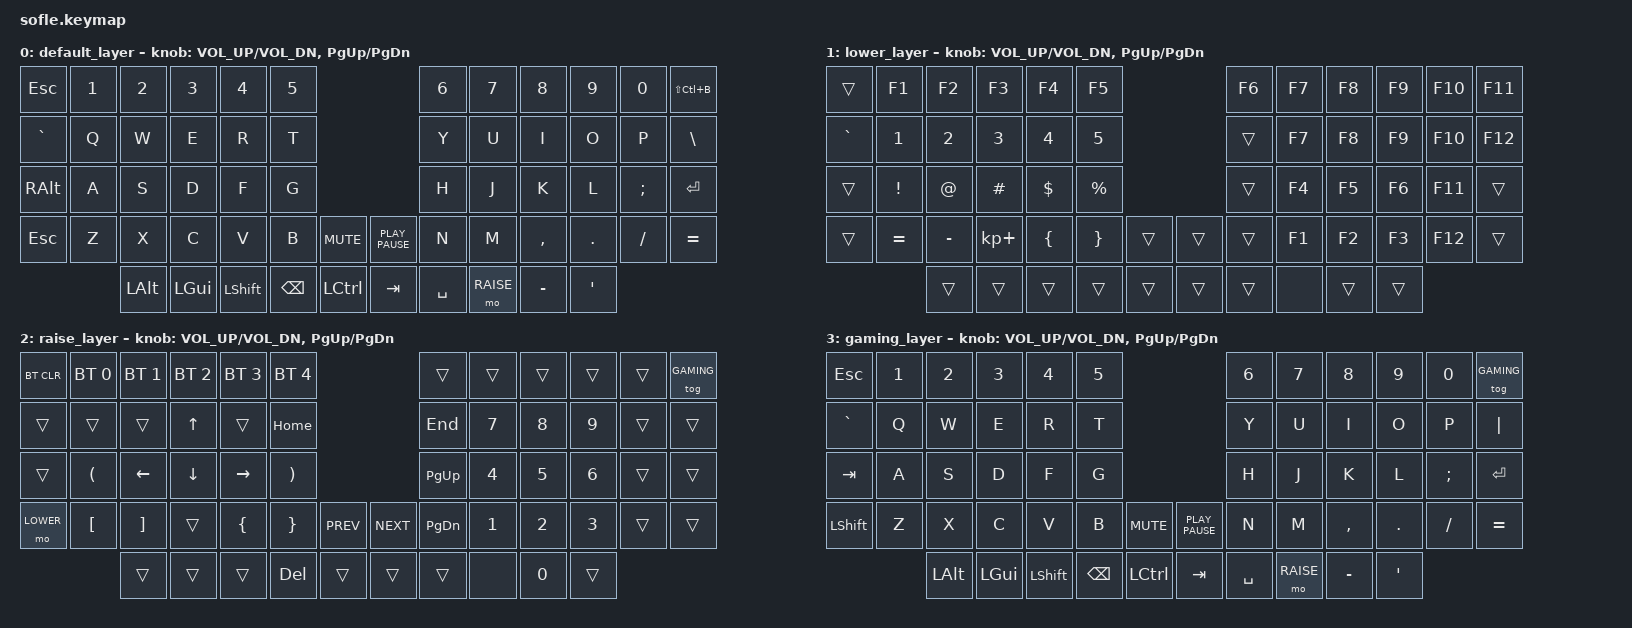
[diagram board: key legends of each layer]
/*
 * Copyright (c) 2020 The ZMK Contributors
 *
 * SPDX-License-Identifier: MIT
 */

#include <behaviors.dtsi>
#include <dt-bindings/zmk/keys.h>
#include <dt-bindings/zmk/bt.h>

#define DEFAULT 0
#define LOWER 1
#define RAISE 2
#define GAMING 3


/ {
    keymap {
        compatible = "zmk,keymap";

        default_layer {
            bindings = <
&kp ESC &kp N1 &kp N2   &kp N3   &kp N4    &kp N5                                        &kp N6    &kp N7     &kp N8    &kp N9   &kp N0   &kp LS(LC(B))
&kp GRAVE   &kp Q  &kp W    &kp E    &kp R     &kp T                                     &kp Y     &kp U      &kp I     &kp O    &kp P    &kp BSLH
&kp RIGHT_ALT   &kp A  &kp S    &kp D    &kp F     &kp G                                     &kp H     &kp J      &kp K     &kp L    &kp SEMI &kp RET
&kp ESC     &kp Z  &kp X    &kp C    &kp V     &kp B  &kp C_MUTE      &kp K_PLAY_PAUSE   &kp N     &kp M      &kp COMMA &kp DOT  &kp FSLH &kp EQUAL
                 &kp LALT &kp LGUI &kp LSHFT &kp BSPC  &kp LCTRL      &kp TAB &kp SPACE  &mo RAISE &kp MINUS  &kp SQT
            >;

            sensor-bindings = <&inc_dec_kp C_VOL_UP C_VOL_DN &inc_dec_kp PG_UP PG_DN>;
        };

        lower_layer {
            bindings = <
&trans    &kp F1    &kp F2    &kp F3      &kp F4    &kp F5                    &kp F6    &kp F7   &kp F8  &kp F9  &kp F10  &kp F11
&kp GRAVE &kp N1    &kp N2    &kp N3      &kp N4    &kp N5                    &trans    &kp F7   &kp F8  &kp F9  &kp F10  &kp F12
&trans    &kp EXCL  &kp AT    &kp HASH    &kp DLLR  &kp PRCNT                 &trans    &kp F4   &kp F5  &kp F6  &kp F11  &trans
&trans    &kp EQUAL &kp MINUS &kp KP_PLUS &kp LBRC  &kp RBRC  &trans   &trans &trans    &kp F1   &kp F2  &kp F3  &kp F12  &trans
                    &trans    &trans      &trans    &trans    &trans   &trans &trans    &none   &trans  &trans
            >;

            sensor-bindings = <&inc_dec_kp C_VOL_UP C_VOL_DN &inc_dec_kp PG_UP PG_DN>;
        };

        raise_layer {
            bindings = <
&bt BT_CLR &bt BT_SEL 0 &bt BT_SEL 1 &bt BT_SEL 2 &bt BT_SEL 3 &bt BT_SEL 4                         &trans    &trans    &trans   &trans    &trans  &tog GAMING
&trans     &trans       &trans       &kp UP       &trans       &kp HOME                             &kp END   &kp N7    &kp N8   &kp N9    &trans  &trans
&trans     &kp LPAR     &kp LEFT     &kp DOWN     &kp RIGHT    &kp RPAR                             &kp PG_UP &kp N4    &kp N5   &kp N6    &trans  &trans
&mo LOWER  &kp LBKT     &kp RBKT     &trans       &kp LBRC     &kp RBRC  &kp C_PREV    &kp C_NEXT  &kp PG_DN  &kp N1    &kp N2   &kp N3    &trans  &trans
                        &trans       &trans       &trans       &kp DEL  &trans         &trans      &trans     &none     &kp N0   &trans
            >;

            sensor-bindings = <&inc_dec_kp C_VOL_UP C_VOL_DN &inc_dec_kp PG_UP PG_DN>;
        };

        gaming_layer {
            bindings = <
&kp ESC     &kp N1 &kp N2   &kp N3   &kp N4    &kp N5                                    &kp N6    &kp N7     &kp N8    &kp N9   &kp N0   &tog GAMING
&kp GRAVE   &kp Q  &kp W    &kp E    &kp R     &kp T                                     &kp Y     &kp U      &kp I     &kp O    &kp P    &kp PIPE
&kp TAB     &kp A  &kp S    &kp D    &kp F     &kp G                                     &kp H     &kp J      &kp K     &kp L    &kp SEMI &kp RET
&kp LSHFT   &kp Z  &kp X    &kp C    &kp V     &kp B  &kp C_MUTE      &kp K_PLAY_PAUSE   &kp N     &kp M      &kp COMMA &kp DOT  &kp FSLH &kp EQUAL
                 &kp LALT &kp LGUI &kp LSHFT &kp BSPC  &kp LCTRL      &kp TAB &kp SPACE  &mo RAISE &kp MINUS  &kp SQT
            >;

            sensor-bindings = <&inc_dec_kp C_VOL_UP C_VOL_DN &inc_dec_kp PG_UP PG_DN>;
        };
    };
};
